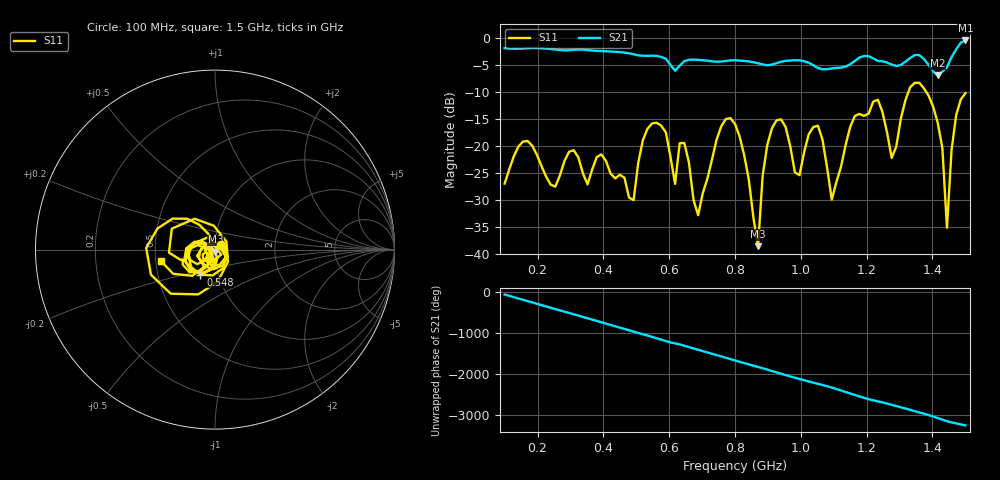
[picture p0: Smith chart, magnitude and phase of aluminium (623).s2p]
! NanoVNA-App
! Date: 2025-09-25 15:00:07
! Start: 100MHz Stop: 1,5GHz Points: 101
! S-Parameter data: F S11 S21 S12 S22
# Hz S RI R 50
!  Frequency  S11_Real  S11_Imag  S21_Real  S21_Imag  S12_Real  S12_Imag  S22_Real  S22_Imag
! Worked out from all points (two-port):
!   101 points, 100 MHz to 1.5 GHz, reference 50 ohm
!   highest |S21| = -0.50 dB at 1.5 GHz (marker M1); lowest = -7.0 dB at 1.416 GHz (marker M2)
!   |S21| within 3 dB of the highest: start of sweep to 573.2 MHz; 1.459 GHz to end of sweep (the widest 2 of 4)
!   lowest |S11| = -38.5 dB at 870 MHz (marker M3), VSWR 1.02, Z = 50.2 - j1.17 ohm
!   |S11| at or under -10 dB: start of sweep to 1.327 GHz; 1.381 GHz to end of sweep
!   S12 and S22 are empty: the file has one direction only
!   S11 on the Smith chart (normalised r, x): 100 MHz: 1.07, +0.06; 548 MHz: 0.82, -0.23; 1.5 GHz: 0.53, -0.08
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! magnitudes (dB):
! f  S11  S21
! 100 MHz  -27.0  -1.9
! 156 MHz  -19.2  -2.0
! 338 MHz  -25.1  -2.2
! 492 MHz  -30.0  -3.1
! 548 MHz  -15.8  -3.3
! 576 MHz  -16.2  -3.5
! 618 MHz  -27.0  -6.1
! 646 MHz  -19.4  -4.3
! 688 MHz  -32.8  -4.1
! 800 MHz  -15.9  -4.1
! 870 MHz  -38.5  -4.7
! 912 MHz  -16.7  -5.0
! 996 MHz  -25.4  -4.2
! 1.038 GHz  -16.5  -5.1
! 1.094 GHz  -29.9  -5.7
! 1.22 GHz  -11.8  -3.8
! 1.276 GHz  -22.2  -4.9
! 1.346 GHz  -8.3  -3.2
! 1.416 GHz  -15.7  -7.0
! 1.444 GHz  -35.1  -5.4
! 1.472 GHz  -14.3  -2.1
! 1.5 GHz  -10.2  -0.5
